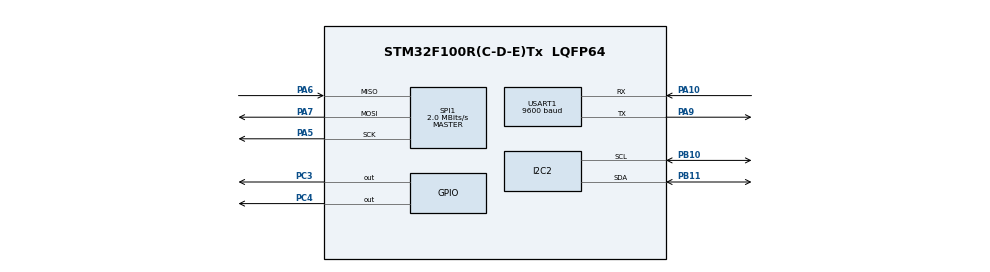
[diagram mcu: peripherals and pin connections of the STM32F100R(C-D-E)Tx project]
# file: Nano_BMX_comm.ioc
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Mcu.Family=STM32F1
Mcu.Name=STM32F100R(C-D-E)Tx
Mcu.Package=LQFP64
NVIC.PriorityGroup=NVIC_PRIORITYGROUP_4
NVIC.USART1_IRQn=true\:0\:0\:false\:false\:true\:true\:true
PA10.Mode=Asynchronous
PA10.Signal=USART1_RX
PA13.Mode=Serial_Wire
PA13.Signal=SYS_JTMS-SWDIO
PA14.Mode=Serial_Wire
PA14.Signal=SYS_JTCK-SWCLK
PA5.Mode=Full_Duplex_Master
PA5.Signal=SPI1_SCK
PA6.Mode=Full_Duplex_Master
PA6.Signal=SPI1_MISO
PA7.Mode=Full_Duplex_Master
PA7.Signal=SPI1_MOSI
PA9.Mode=Asynchronous
PA9.Signal=USART1_TX
PB10.Mode=I2C
PB10.Signal=I2C2_SCL
PB11.Mode=I2C
PB11.Signal=I2C2_SDA
PC14-OSC32_IN.Mode=LSE-External-Oscillator
PC14-OSC32_IN.Signal=RCC_OSC32_IN
PC15-OSC32_OUT.Mode=LSE-External-Oscillator
PC15-OSC32_OUT.Signal=RCC_OSC32_OUT
PC3.Signal=GPIO_Output
PC4.Signal=GPIO_Output
PD0-OSC_IN.Mode=HSE-External-Oscillator
PD0-OSC_IN.Signal=RCC_OSC_IN
PD1-OSC_OUT.Mode=HSE-External-Oscillator
PD1-OSC_OUT.Signal=RCC_OSC_OUT
ProjectManager.HeapSize=0x200
ProjectManager.StackSize=0x400
ProjectManager.TargetToolchain=MDK-ARM V5.27
RCC.APB1Freq_Value=8000000
RCC.APB2Freq_Value=8000000
SPI1.BaudRatePrescaler=SPI_BAUDRATEPRESCALER_4
SPI1.CLKPhase=SPI_PHASE_2EDGE
SPI1.CLKPolarity=SPI_POLARITY_HIGH
SPI1.CalculateBaudRate=2.0 MBits/s
SPI1.Direction=SPI_DIRECTION_2LINES
SPI1.Mode=SPI_MODE_MASTER
SPI1.VirtualType=VM_MASTER
USART1.BaudRate=9600
USART1.VirtualMode=VM_ASYNC
board=custom

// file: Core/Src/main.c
/* USER CODE BEGIN Header */
/**
  ******************************************************************************
  * @file           : main.c
  * @brief          : Main program body
  ******************************************************************************
  * @attention
  *
  * <h2><center>&copy; Copyright (c) 2021 STMicroelectronics.
  * All rights reserved.</center></h2>
  *
  * This software component is licensed by ST under BSD 3-Clause license,
  * the "License"; You may not use this file except in compliance with the
  * License. You may obtain a copy of the License at:
  *                        opensource.org/licenses/BSD-3-Clause
  *
  ******************************************************************************
  */
/* USER CODE END Header */
#include "main.h"

/* USER CODE BEGIN PD */
#define Acc_ID 0xFA;
#define GYRO_ID 0x0F;

/* USER CODE END PD */

I2C_HandleTypeDef hi2c2;

SPI_HandleTypeDef hspi1;

UART_HandleTypeDef huart1;

/* USER CODE BEGIN PV */
uint8_t t,i,j,x,x1,y,y1,z,z1,ID,k;
uint8_t Tx_SPI_buf[2], Tx_I2C_buf[2], Rx_SPI_buf, Rx_I2C_buf, Acc_data[8];
uint8_t Test_buf[8];
uint8_t n=0;
uint8_t Tx_UART_buf[]= " Communicating with BMX055 IMU Sensor\n";
uint8_t Rx_UART_buf[8];
uint8_t Tx_UART_buff[8];

/* USER CODE END PV */

void SystemClock_Config(void);
static void MX_GPIO_Init(void);
static void MX_I2C2_Init(void);
static void MX_SPI1_Init(void);
static void MX_USART1_UART_Init(void);

/* USER CODE BEGIN 0 */

uint8_t BMX_find_ID()
{
	for(i=0u;i<0xFF;i++)
	{
		if(HAL_OK== HAL_I2C_IsDeviceReady(&hi2c2, i,1,10))
		{
			i=j;
			HAL_GPIO_TogglePin(GPIOC,GPIO_PIN_3);
			HAL_Delay(1000);
			break;
		}
	}
	return j;
}

void BMX_I2C_Write(uint8_t address0, uint8_t data)
{
	Tx_I2C_buf[0]= address0;
	Tx_I2C_buf[1]= data;
	HAL_I2C_Master_Transmit(&hi2c2, 0xFA, Tx_I2C_buf, 2,100);
}

uint8_t BMX_I2C_Read(uint8_t address1)
{
	HAL_I2C_Master_Receive(&hi2c2, 0xFA, &Rx_I2C_buf, sizeof(Rx_I2C_buf), 100);
	return Rx_I2C_buf;
}

uint8_t BMX_I2C_Mem_Read(uint8_t address2, uint8_t NB)
{
	HAL_I2C_Mem_Read(&hi2c2, 0xFA, address2, 2, &Rx_I2C_buf, NB, 100);
	return Rx_I2C_buf;
}

void BMX_SPI_Write(uint8_t address3, uint8_t data)
{
	Tx_SPI_buf[0] = address3 | 0x02;  // Enabling to write to the sensor
	Tx_SPI_buf[1] = data;
	HAL_GPIO_WritePin(GPIOC, GPIO_PIN_4,GPIO_PIN_RESET); // Making the chip select LOW
	HAL_SPI_Transmit(&hspi1, Tx_SPI_buf, 6, 100);
	HAL_GPIO_WritePin(GPIOC, GPIO_PIN_4, GPIO_PIN_SET); // Making the CS high viz., disabling transmission
}

uint8_t BMX_SPI_Read(uint8_t address4)
{
	address4 |= 0x80;
	//address |= 0x02;
	HAL_GPIO_WritePin(GPIOC, GPIO_PIN_4, GPIO_PIN_RESET);
	HAL_SPI_Transmit(&hspi1, &address4, 1, 100);
	HAL_SPI_Receive(&hspi1, &Rx_SPI_buf, 6, 100);
	HAL_GPIO_WritePin(GPIOC, GPIO_PIN_4, GPIO_PIN_SET);
	return Rx_SPI_buf;
}

void BMX_UART_Send()
{
	HAL_UART_Transmit(&huart1, Tx_UART_buff, sizeof(Tx_UART_buff), 100);
	HAL_Delay(1000);
}

void BMX_ACC_Init()
{
	//BMX_SPI_Write(0x11, 0x00); // Normal mode
	BMX_SPI_Write(0x0F, 0x05); // +4g range
	BMX_SPI_Write(0x10, 0x08); // bandwidth 7.81 Hz
	BMX_SPI_Write(0x13, 0x00); // filtered data
}

/* USER CODE END 0 */

int main(void)
{

  /* MCU Configuration--------------------------------------------------------*/

  /* Reset of all peripherals, Initializes the Flash interface and the Systick. */
  HAL_Init();

  /* USER CODE BEGIN Init */

//	BMX_ACC_Init();

  /* USER CODE END Init */

  /* Configure the system clock */
  SystemClock_Config();

  /* Initialize all configured peripherals */
  MX_GPIO_Init();
  MX_I2C2_Init();
  MX_SPI1_Init();
  MX_USART1_UART_Init();
  /* USER CODE BEGIN 2 */
	__HAL_UART_ENABLE_IT(&huart1, UART_IT_RXNE);

  /* USER CODE END 2 */

  /* Infinite loop */
  while (1)
  {

    /* USER CODE BEGIN 3 */
		BMX_ACC_Init();
		ID = BMX_SPI_Read(0x00);
	  t= BMX_SPI_Read(0x08);
		x= BMX_SPI_Read(0x02);
		x1= BMX_SPI_Read(0x03);
		y= BMX_SPI_Read(0x04);
		y1= BMX_SPI_Read(0x05);
		z= BMX_SPI_Read(0x06);
		z1= BMX_SPI_Read(0x07);
		Acc_data[0]=t; // temperature
		Acc_data[1]=x;
		Acc_data[2]=x1;
		Acc_data[3]=y;
		Acc_data[4]=y1;
		Acc_data[5]=z;
		Acc_data[6]=z1;
		for(uint8_t m=0;m<=7;m++)
		{
			Tx_UART_buff[m]= Acc_data[m];
		}
		for(k=0x02; k<=0x07 && n<=6; k++)
		{
			Test_buf[n]=BMX_SPI_Read(k);
			n++;
		}
		BMX_UART_Send();
  }
  /* USER CODE END 3 */
}

void SystemClock_Config(void)
{
  RCC_OscInitTypeDef RCC_OscInitStruct = {0};
  RCC_ClkInitTypeDef RCC_ClkInitStruct = {0};

  /** Initializes the RCC Oscillators according to the specified parameters
  * in the RCC_OscInitTypeDef structure.
  */
  RCC_OscInitStruct.OscillatorType = RCC_OSCILLATORTYPE_HSI;
  RCC_OscInitStruct.HSIState = RCC_HSI_ON;
  RCC_OscInitStruct.HSICalibrationValue = RCC_HSICALIBRATION_DEFAULT;
  RCC_OscInitStruct.PLL.PLLState = RCC_PLL_NONE;
  if (HAL_RCC_OscConfig(&RCC_OscInitStruct) != HAL_OK)
  {
    Error_Handler();
  }
  /** Initializes the CPU, AHB and APB buses clocks
  */
  RCC_ClkInitStruct.ClockType = RCC_CLOCKTYPE_HCLK|RCC_CLOCKTYPE_SYSCLK
                              |RCC_CLOCKTYPE_PCLK1|RCC_CLOCKTYPE_PCLK2;
  RCC_ClkInitStruct.SYSCLKSource = RCC_SYSCLKSOURCE_HSI;
  RCC_ClkInitStruct.AHBCLKDivider = RCC_SYSCLK_DIV1;
  RCC_ClkInitStruct.APB1CLKDivider = RCC_HCLK_DIV1;
  RCC_ClkInitStruct.APB2CLKDivider = RCC_HCLK_DIV1;

  if (HAL_RCC_ClockConfig(&RCC_ClkInitStruct, FLASH_LATENCY_0) != HAL_OK)
  {
    Error_Handler();
  }
}

static void MX_I2C2_Init(void)
{

  hi2c2.Instance = I2C2;
  hi2c2.Init.ClockSpeed = 100000;
  hi2c2.Init.DutyCycle = I2C_DUTYCYCLE_2;
  hi2c2.Init.OwnAddress1 = 0;
  hi2c2.Init.AddressingMode = I2C_ADDRESSINGMODE_7BIT;
  hi2c2.Init.DualAddressMode = I2C_DUALADDRESS_DISABLE;
  hi2c2.Init.OwnAddress2 = 0;
  hi2c2.Init.GeneralCallMode = I2C_GENERALCALL_DISABLE;
  hi2c2.Init.NoStretchMode = I2C_NOSTRETCH_DISABLE;
  if (HAL_I2C_Init(&hi2c2) != HAL_OK)
  {
    Error_Handler();
  }

}

static void MX_SPI1_Init(void)
{

  /* SPI1 parameter configuration*/
  hspi1.Instance = SPI1;
  hspi1.Init.Mode = SPI_MODE_MASTER;
  hspi1.Init.Direction = SPI_DIRECTION_2LINES;
  hspi1.Init.DataSize = SPI_DATASIZE_8BIT;
  hspi1.Init.CLKPolarity = SPI_POLARITY_HIGH;
  hspi1.Init.CLKPhase = SPI_PHASE_2EDGE;
  hspi1.Init.NSS = SPI_NSS_SOFT;
  hspi1.Init.BaudRatePrescaler = SPI_BAUDRATEPRESCALER_4;
  hspi1.Init.FirstBit = SPI_FIRSTBIT_MSB;
  hspi1.Init.TIMode = SPI_TIMODE_DISABLE;
  hspi1.Init.CRCCalculation = SPI_CRCCALCULATION_DISABLE;
  hspi1.Init.CRCPolynomial = 10;
  if (HAL_SPI_Init(&hspi1) != HAL_OK)
  {
    Error_Handler();
  }

}

static void MX_USART1_UART_Init(void)
{

  huart1.Instance = USART1;
  huart1.Init.BaudRate = 9600;
  huart1.Init.WordLength = UART_WORDLENGTH_8B;
  huart1.Init.StopBits = UART_STOPBITS_1;
  huart1.Init.Parity = UART_PARITY_NONE;
  huart1.Init.Mode = UART_MODE_TX_RX;
  huart1.Init.HwFlowCtl = UART_HWCONTROL_NONE;
  huart1.Init.OverSampling = UART_OVERSAMPLING_16;
  if (HAL_UART_Init(&huart1) != HAL_OK)
  {
    Error_Handler();
  }

}

static void MX_GPIO_Init(void)
{
  GPIO_InitTypeDef GPIO_InitStruct = {0};

  /* GPIO Ports Clock Enable */
  __HAL_RCC_GPIOC_CLK_ENABLE();
  __HAL_RCC_GPIOD_CLK_ENABLE();
  __HAL_RCC_GPIOA_CLK_ENABLE();
  __HAL_RCC_GPIOB_CLK_ENABLE();

  /*Configure GPIO pin Output Level */
  HAL_GPIO_WritePin(GPIOC, GPIO_PIN_3|GPIO_PIN_4, GPIO_PIN_RESET);

  /*Configure GPIO pins : PC3 PC4 */
  GPIO_InitStruct.Pin = GPIO_PIN_3|GPIO_PIN_4;
  GPIO_InitStruct.Mode = GPIO_MODE_OUTPUT_PP;
  GPIO_InitStruct.Pull = GPIO_NOPULL;
  GPIO_InitStruct.Speed = GPIO_SPEED_FREQ_LOW;
  HAL_GPIO_Init(GPIOC, &GPIO_InitStruct);

}

void Error_Handler(void)
{
}

/************************ (C) COPYRIGHT STMicroelectronics *****END OF FILE****/
